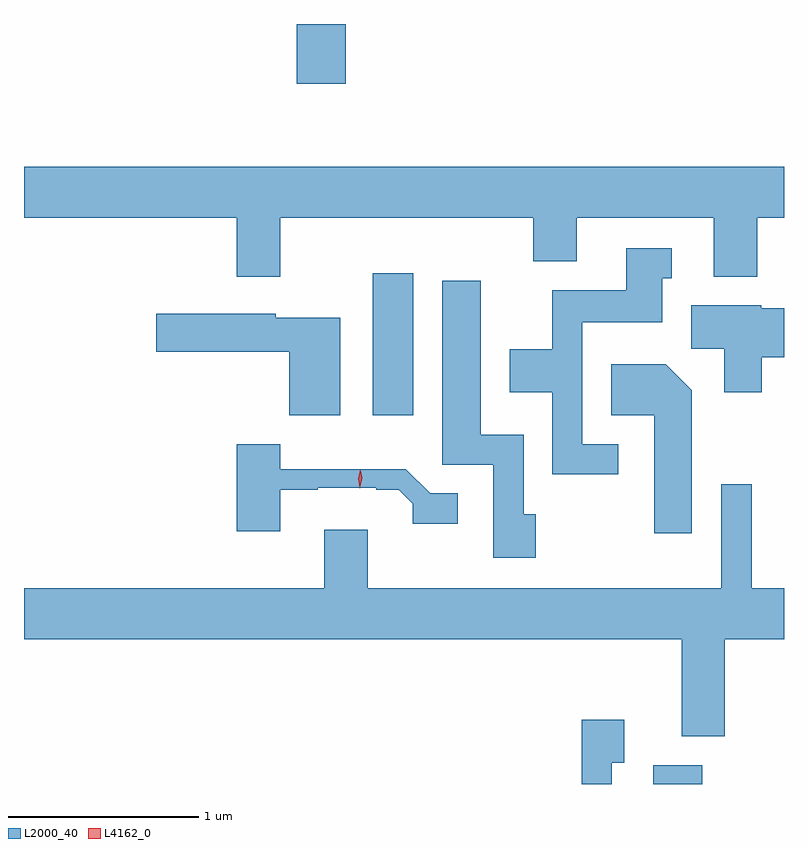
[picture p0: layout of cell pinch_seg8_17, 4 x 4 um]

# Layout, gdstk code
import gdstk
lib = gdstk.Library(unit=1e-6, precision=1e-09)
def R(c, l, rs):  # rectangles x0, y0, x1, y1
    for r in rs: c.add(gdstk.rectangle(r[:2], r[2:], *l))
def P(c, l, *ps):  # polygons
    for p in ps: c.add(gdstk.Polygon(p, *l))
L2000_40 = (2000, 40)
L4162_0 = (4162, 0)

pinch_seg8_17 = lib.new_cell('pinch_seg8_17')
R(pinch_seg8_17, L2000_40, [(1068.141,1882.275,1068.399,1882.374), (1066.666,1884.216,1066.879,1884.964), (1066.266,1885.961,1066.524,1886.275)])
P(pinch_seg8_17, L2000_40, [(1066.179,1885.256),(1067.511,1885.256),(1067.511,1885.026),(1067.739,1885.026),(1067.739,1885.256),(1068.461,1885.256),(1068.461,1884.946),(1068.689,1884.946),(1068.689,1885.256),(1068.83,1885.256),(1068.83,1885.524),(1064.83,1885.524),(1064.83,1885.256),(1065.951,1885.256),(1065.951,1884.946),(1066.179,1884.946)],
  [(1067.958,1884.064),(1067.769,1884.064),(1067.769,1884.706),(1068.189,1884.706),(1068.189,1884.936),(1068.238,1884.936),(1068.238,1885.094),(1068.001,1885.094),(1068.001,1884.874),(1067.611,1884.874),(1067.611,1884.564),(1067.386,1884.564),(1067.386,1884.336),(1067.611,1884.336),(1067.611,1883.906),(1067.958,1883.906)],
  [(1067.524,1883.694),(1067.459,1883.694),(1067.459,1884.114),(1067.234,1884.114),(1067.234,1884.924),(1067.031,1884.924),(1067.031,1883.956),(1067.301,1883.956),(1067.301,1883.466),(1067.524,1883.466)],
  [(1068.714,1884.521),(1068.83,1884.521),(1068.83,1884.779),(1068.71,1884.779),(1068.71,1884.794),(1068.341,1884.794),(1068.341,1884.566),(1068.516,1884.566),(1068.516,1884.336),(1068.714,1884.336)],
  [(1066.494,1884.729),(1066.154,1884.729),(1066.154,1884.749),(1065.526,1884.749),(1065.526,1884.551),(1066.226,1884.551),(1066.226,1884.216),(1066.494,1884.216)],
  [(1068.344,1884.347),(1068.207,1884.484),(1067.921,1884.484),(1067.921,1884.216),(1068.146,1884.216),(1068.146,1883.596),(1068.344,1883.596)],
  [(1066.179,1883.824),(1066.375,1883.824),(1066.375,1883.833),(1066.685,1883.833),(1066.685,1883.824),(1066.803,1883.824),(1066.877,1883.749),(1066.877,1883.646),(1067.113,1883.646),(1067.113,1883.804),(1066.967,1883.804),(1066.84,1883.931),(1066.179,1883.931),(1066.179,1884.064),(1065.951,1884.064),(1065.951,1883.606),(1066.179,1883.606)],
  [(1068.519,1883.036),(1068.83,1883.036),(1068.83,1883.304),(1068.659,1883.304),(1068.659,1883.853),(1068.501,1883.853),(1068.501,1883.304),(1066.639,1883.304),(1066.639,1883.614),(1066.411,1883.614),(1066.411,1883.304),(1064.83,1883.304),(1064.83,1883.036),(1068.291,1883.036),(1068.291,1882.526),(1068.519,1882.526)],
  [(1067.924,1882.386),(1067.989,1882.386),(1067.989,1882.614),(1067.766,1882.614),(1067.766,1882.275),(1067.924,1882.275)])
P(pinch_seg8_17, L4162_0, [(1066.597,1883.832),(1066.596,1883.833),(1066.588,1883.882),(1066.599,1883.93),(1066.6,1883.93),(1066.6,1883.93),(1066.608,1883.881),(1066.598,1883.833)],
  [(1066.601,1883.84),(1066.6,1883.841),(1066.591,1883.883),(1066.601,1883.924),(1066.601,1883.925),(1066.602,1883.924),(1066.611,1883.883),(1066.601,1883.841)])

lib.write_gds('pinch_seg8_17.gds')
